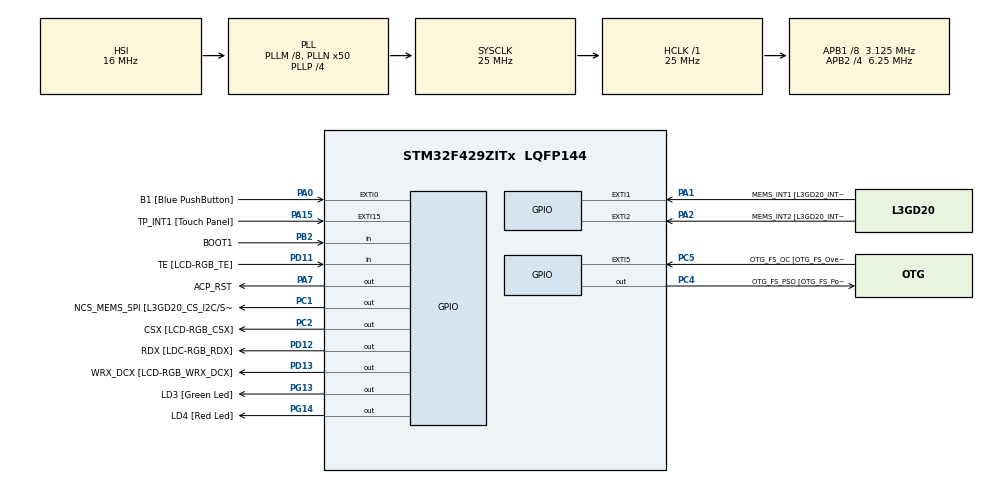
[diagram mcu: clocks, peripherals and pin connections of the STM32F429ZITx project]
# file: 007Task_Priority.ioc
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Mcu.Family=STM32F4
Mcu.Name=STM32F429ZITx
Mcu.Package=LQFP144
NVIC.EXTI0_IRQn=true\:6\:0\:true\:false\:true\:true\:true
NVIC.PriorityGroup=NVIC_PRIORITYGROUP_4
NVIC.TIM6_DAC_IRQn=true\:15\:0\:false\:false\:true\:false\:true
NVIC.TimeBase=TIM6_DAC_IRQn
NVIC.TimeBaseIP=TIM6
PA0/WKUP.GPIO_Label=B1 [Blue PushButton]
PA0/WKUP.GPIO_ModeDefaultEXTI=GPIO_MODE_IT_FALLING
PA0/WKUP.GPIO_PuPd=GPIO_NOPULL
PA0/WKUP.Signal=GPXTI0
PA1.GPIO_Label=MEMS_INT1 [L3GD20_INT1]
PA1.GPIO_ModeDefaultEXTI=GPIO_MODE_EVT_RISING
PA1.GPIO_PuPd=GPIO_NOPULL
PA1.Signal=GPXTI1
PA10.GPIO_Label=STLINK_TX [STM32F103CBT6_PA2]
PA10.Signal=USART1_RX
PA11.GPIO_Label=R4
PA11.GPIO_Mode=GPIO_MODE_AF_PP
PA11.GPIO_PuPd=GPIO_NOPULL
PA11.GPIO_Speed=GPIO_SPEED_FREQ_LOW
PA11.Signal=LTDC_R4
PA12.GPIO_Label=R5
PA12.GPIO_Mode=GPIO_MODE_AF_PP
PA12.GPIO_PuPd=GPIO_NOPULL
PA12.GPIO_Speed=GPIO_SPEED_FREQ_LOW
PA12.Signal=LTDC_R5
PA13.GPIO_Label=SWDIO
PA13.Signal=SYS_JTMS-SWDIO
PA14.GPIO_Label=SWCLK
PA14.Signal=SYS_JTCK-SWCLK
PA15.GPIO_Label=TP_INT1 [Touch Panel]
PA15.GPIO_ModeDefaultEXTI=GPIO_MODE_EVT_RISING
PA15.GPIO_PuPd=GPIO_NOPULL
PA15.Signal=GPXTI15
PA2.GPIO_Label=MEMS_INT2 [L3GD20_INT2]
PA2.GPIO_ModeDefaultEXTI=GPIO_MODE_EVT_RISING
PA2.GPIO_PuPd=GPIO_NOPULL
PA2.Signal=GPXTI2
PA3.GPIO_Label=B5
PA3.GPIO_Mode=GPIO_MODE_AF_PP
PA3.GPIO_PuPd=GPIO_NOPULL
PA3.GPIO_Speed=GPIO_SPEED_FREQ_LOW
PA3.Signal=LTDC_B5
PA4.GPIO_Label=VSYNC
PA4.GPIO_Mode=GPIO_MODE_AF_PP
PA4.GPIO_PuPd=GPIO_NOPULL
PA4.GPIO_Speed=GPIO_SPEED_FREQ_LOW
PA4.Signal=LTDC_VSYNC
PA6.GPIO_Label=G2
PA6.GPIO_Mode=GPIO_MODE_AF_PP
PA6.GPIO_PuPd=GPIO_NOPULL
PA6.GPIO_Speed=GPIO_SPEED_FREQ_LOW
PA6.Signal=LTDC_G2
PA7.GPIO_Label=ACP_RST
PA7.GPIO_Mode=GPIO_MODE_OUTPUT_PP
PA7.GPIO_PuPd=GPIO_NOPULL
PA7.GPIO_Speed=GPIO_SPEED_FREQ_LOW
PA7.Signal=GPIO_Output
PA8.GPIO_Label=I2C3_SCL [ACP/RF_SCL]
PA8.GPIO_Mode=GPIO_MODE_AF_OD
PA8.GPIO_PuPd=GPIO_NOPULL
PA8.GPIO_Speed=GPIO_SPEED_FREQ_LOW
PA8.Signal=I2C3_SCL
PA9.GPIO_Label=STLINK_RX [STM32F103CBT6_PA3]
PA9.Signal=USART1_TX
PB0.GPIO_Label=R3
PB0.GPIO_Mode=GPIO_MODE_AF_PP
PB0.GPIO_PuPd=GPIO_NOPULL
PB0.GPIO_Speed=GPIO_SPEED_FREQ_LOW
PB0.Signal=LTDC_R3
PB1.GPIO_Label=R6
PB1.GPIO_Mode=GPIO_MODE_AF_PP
PB1.GPIO_PuPd=GPIO_NOPULL
PB1.GPIO_Speed=GPIO_SPEED_FREQ_LOW
PB1.Signal=LTDC_R6
PB10.GPIO_Label=G4
PB10.GPIO_Mode=GPIO_MODE_AF_PP
PB10.GPIO_PuPd=GPIO_NOPULL
PB10.GPIO_Speed=GPIO_SPEED_FREQ_LOW
PB10.Signal=LTDC_G4
PB11.GPIO_Label=G5
PB11.GPIO_Mode=GPIO_MODE_AF_PP
PB11.GPIO_PuPd=GPIO_NOPULL
PB11.GPIO_Speed=GPIO_SPEED_FREQ_LOW
PB11.Signal=LTDC_G5
PB12.GPIO_Label=OTG_HS_ID
PB12.GPIO_Mode=GPIO_MODE_AF_PP
PB12.GPIO_PuPd=GPIO_NOPULL
PB12.GPIO_Speed=GPIO_SPEED_FREQ_LOW
PB12.Signal=USB_OTG_HS_ID
PB13.GPIO_Label=VBUS_HS
PB13.GPIO_Mode=GPIO_MODE_INPUT
PB13.GPIO_PuPd=GPIO_NOPULL
PB13.Signal=USB_OTG_HS_VBUS
PB14.GPIO_Label=OTG_HS_DM
PB14.GPIO_Mode=GPIO_MODE_AF_PP
PB14.GPIO_PuPd=GPIO_NOPULL
PB14.GPIO_Speed=GPIO_SPEED_FREQ_LOW
PB14.Signal=USB_OTG_HS_DM
PB15.GPIO_Label=OTG_HS_DP
PB15.GPIO_Mode=GPIO_MODE_AF_PP
PB15.GPIO_PuPd=GPIO_NOPULL
PB15.GPIO_Speed=GPIO_SPEED_FREQ_LOW
PB15.Signal=USB_OTG_HS_DP
PB2/BOOT1.GPIO_Label=BOOT1
PB2/BOOT1.GPIO_Mode=GPIO_MODE_INPUT
PB2/BOOT1.GPIO_PuPd=GPIO_NOPULL
PB2/BOOT1.Signal=GPIO_Input
PB5.GPIO_Label=SDCKE1
PB5.GPIO_Mode=GPIO_MODE_AF_PP
PB5.GPIO_PuPd=GPIO_NOPULL
PB5.GPIO_Speed=GPIO_SPEED_FREQ_VERY_HIGH
PB5.Signal=FMC_SDCKE1
PB6.GPIO_Label=SDNE1 [SDRAM_CS]
PB6.GPIO_Mode=GPIO_MODE_AF_PP
PB6.GPIO_PuPd=GPIO_NOPULL
PB6.GPIO_Speed=GPIO_SPEED_FREQ_VERY_HIGH
PB6.Signal=FMC_SDNE1
PB8.GPIO_Label=B6
PB8.GPIO_Mode=GPIO_MODE_AF_PP
PB8.GPIO_PuPd=GPIO_NOPULL
PB8.GPIO_Speed=GPIO_SPEED_FREQ_LOW
PB8.Signal=LTDC_B6
PB9.GPIO_Label=B7
PB9.GPIO_Mode=GPIO_MODE_AF_PP
PB9.GPIO_PuPd=GPIO_NOPULL
PB9.GPIO_Speed=GPIO_SPEED_FREQ_LOW
PB9.Signal=LTDC_B7
PC0.GPIO_Label=SDNWE
PC0.GPIO_Mode=GPIO_MODE_AF_PP
PC0.GPIO_PuPd=GPIO_NOPULL
PC0.GPIO_Speed=GPIO_SPEED_FREQ_VERY_HIGH
PC0.Signal=FMC_SDNWE
PC1.GPIO_Label=NCS_MEMS_SPI [L3GD20_CS_I2C/SPI]
PC1.GPIO_Mode=GPIO_MODE_OUTPUT_PP
PC1.GPIO_PuPd=GPIO_NOPULL
PC1.GPIO_Speed=GPIO_SPEED_FREQ_LOW
PC1.Signal=GPIO_Output
PC10.GPIO_Label=R2
PC10.GPIO_Mode=GPIO_MODE_AF_PP
PC10.GPIO_PuPd=GPIO_NOPULL
PC10.GPIO_Speed=GPIO_SPEED_FREQ_LOW
PC10.Signal=LTDC_R2
PC14/OSC32_IN.GPIO_Label=PC14-OSC32_IN
PC14/OSC32_IN.Signal=RCC_OSC32_IN
PC15/OSC32_OUT.GPIO_Label=PC15-OSC32_OUT
PC15/OSC32_OUT.Signal=RCC_OSC32_OUT
PC2.GPIO_Label=CSX [LCD-RGB_CSX]
PC2.GPIO_Mode=GPIO_MODE_OUTPUT_PP
PC2.GPIO_PuPd=GPIO_NOPULL
PC2.GPIO_Speed=GPIO_SPEED_FREQ_LOW
PC2.Signal=GPIO_Output
PC4.GPIO_Label=OTG_FS_PSO [OTG_FS_PowerSwitchOn]
PC4.GPIO_Mode=GPIO_MODE_OUTPUT_PP
PC4.GPIO_PuPd=GPIO_NOPULL
PC4.GPIO_Speed=GPIO_SPEED_FREQ_LOW
PC4.Signal=GPIO_Output
PC5.GPIO_Label=OTG_FS_OC [OTG_FS_OverCurrent]
PC5.GPIO_ModeDefaultEXTI=GPIO_MODE_EVT_RISING
PC5.Signal=GPXTI5
PC6.GPIO_Label=HSYNC
PC6.GPIO_Mode=GPIO_MODE_AF_PP
PC6.GPIO_PuPd=GPIO_NOPULL
PC6.GPIO_Speed=GPIO_SPEED_FREQ_LOW
PC6.Signal=LTDC_HSYNC
PC7.GPIO_Label=G6
PC7.GPIO_Mode=GPIO_MODE_AF_PP
PC7.GPIO_PuPd=GPIO_NOPULL
PC7.GPIO_Speed=GPIO_SPEED_FREQ_LOW
PC7.Signal=LTDC_G6
PC9.GPIO_Label=I2C3_SDA [ACP/RF_SDA]
PC9.GPIO_Mode=GPIO_MODE_AF_OD
PC9.GPIO_PuPd=GPIO_NOPULL
PC9.GPIO_Speed=GPIO_SPEED_FREQ_LOW
PC9.Signal=I2C3_SDA
PD0.GPIO_Label=D2
PD0.GPIO_Mode=GPIO_MODE_AF_PP
PD0.GPIO_PuPd=GPIO_NOPULL
PD0.GPIO_Speed=GPIO_SPEED_FREQ_VERY_HIGH
PD0.Signal=FMC_D2_DA2
PD1.GPIO_Label=D3
PD1.GPIO_Mode=GPIO_MODE_AF_PP
PD1.GPIO_PuPd=GPIO_NOPULL
PD1.GPIO_Speed=GPIO_SPEED_FREQ_VERY_HIGH
PD1.Signal=FMC_D3_DA3
PD10.GPIO_Label=D15
PD10.GPIO_Mode=GPIO_MODE_AF_PP
PD10.GPIO_PuPd=GPIO_NOPULL
PD10.GPIO_Speed=GPIO_SPEED_FREQ_VERY_HIGH
PD10.Signal=FMC_D15_DA15
PD11.GPIO_Label=TE [LCD-RGB_TE]
PD11.GPIO_Mode=GPIO_MODE_INPUT
PD11.GPIO_PuPd=GPIO_NOPULL
PD11.Signal=GPIO_Input
PD12.GPIO_Label=RDX [LDC-RGB_RDX]
PD12.GPIO_Mode=GPIO_MODE_OUTPUT_PP
PD12.GPIO_PuPd=GPIO_NOPULL
PD12.GPIO_Speed=GPIO_SPEED_FREQ_LOW
PD12.Signal=GPIO_Output
PD13.GPIO_Label=WRX_DCX [LCD-RGB_WRX_DCX]
PD13.GPIO_Mode=GPIO_MODE_OUTPUT_PP
PD13.GPIO_PuPd=GPIO_NOPULL
PD13.GPIO_Speed=GPIO_SPEED_FREQ_LOW
PD13.Signal=GPIO_Output
PD14.GPIO_Label=D0
PD14.GPIO_Mode=GPIO_MODE_AF_PP
PD14.GPIO_PuPd=GPIO_NOPULL
PD14.GPIO_Speed=GPIO_SPEED_FREQ_VERY_HIGH
PD14.Signal=FMC_D0_DA0
PD15.GPIO_Label=D1
PD15.GPIO_Mode=GPIO_MODE_AF_PP
PD15.GPIO_PuPd=GPIO_NOPULL
PD15.GPIO_Speed=GPIO_SPEED_FREQ_VERY_HIGH
PD15.Signal=FMC_D1_DA1
PD3.GPIO_Label=G7
PD3.GPIO_Mode=GPIO_MODE_AF_PP
PD3.GPIO_PuPd=GPIO_NOPULL
PD3.GPIO_Speed=GPIO_SPEED_FREQ_LOW
PD3.Signal=LTDC_G7
PD6.GPIO_Label=B2
PD6.GPIO_Mode=GPIO_MODE_AF_PP
PD6.GPIO_PuPd=GPIO_NOPULL
PD6.GPIO_Speed=GPIO_SPEED_FREQ_LOW
PD6.Signal=LTDC_B2
PD8.GPIO_Label=D13
PD8.GPIO_Mode=GPIO_MODE_AF_PP
PD8.GPIO_PuPd=GPIO_NOPULL
PD8.GPIO_Speed=GPIO_SPEED_FREQ_VERY_HIGH
PD8.Signal=FMC_D13_DA13
PD9.GPIO_Label=D14
PD9.GPIO_Mode=GPIO_MODE_AF_PP
PD9.GPIO_PuPd=GPIO_NOPULL
PD9.GPIO_Speed=GPIO_SPEED_FREQ_VERY_HIGH
PD9.Signal=FMC_D14_DA14
PE0.GPIO_Label=NBL0 [SDRAM_LDQM]
PE0.GPIO_Mode=GPIO_MODE_AF_PP
PE0.GPIO_PuPd=GPIO_NOPULL
PE0.GPIO_Speed=GPIO_SPEED_FREQ_VERY_HIGH
PE0.Signal=FMC_NBL0
PE1.GPIO_Label=NBL1 [SDRAM_UDQM]
PE1.GPIO_Mode=GPIO_MODE_AF_PP
PE1.GPIO_PuPd=GPIO_NOPULL
PE1.GPIO_Speed=GPIO_SPEED_FREQ_VERY_HIGH
PE1.Signal=FMC_NBL1
PE10.GPIO_Label=D7
PE10.GPIO_Mode=GPIO_MODE_AF_PP
PE10.GPIO_PuPd=GPIO_NOPULL
PE10.GPIO_Speed=GPIO_SPEED_FREQ_VERY_HIGH
PE10.Signal=FMC_D7_DA7
PE11.GPIO_Label=D8
PE11.GPIO_Mode=GPIO_MODE_AF_PP
PE11.GPIO_PuPd=GPIO_NOPULL
PE11.GPIO_Speed=GPIO_SPEED_FREQ_VERY_HIGH
PE11.Signal=FMC_D8_DA8
PE12.GPIO_Label=D9
PE12.GPIO_Mode=GPIO_MODE_AF_PP
PE12.GPIO_PuPd=GPIO_NOPULL
PE12.GPIO_Speed=GPIO_SPEED_FREQ_VERY_HIGH
PE12.Signal=FMC_D9_DA9
PE13.GPIO_Label=D10
PE13.GPIO_Mode=GPIO_MODE_AF_PP
PE13.GPIO_PuPd=GPIO_NOPULL
PE13.GPIO_Speed=GPIO_SPEED_FREQ_VERY_HIGH
PE13.Signal=FMC_D10_DA10
PE14.GPIO_Label=D11
PE14.GPIO_Mode=GPIO_MODE_AF_PP
PE14.GPIO_PuPd=GPIO_NOPULL
PE14.GPIO_Speed=GPIO_SPEED_FREQ_VERY_HIGH
PE14.Signal=FMC_D11_DA11
PE15.GPIO_Label=D12
PE15.GPIO_Mode=GPIO_MODE_AF_PP
PE15.GPIO_PuPd=GPIO_NOPULL
PE15.GPIO_Speed=GPIO_SPEED_FREQ_VERY_HIGH
PE15.Signal=FMC_D12_DA12
PE7.GPIO_Label=D4
PE7.GPIO_Mode=GPIO_MODE_AF_PP
PE7.GPIO_PuPd=GPIO_NOPULL
PE7.GPIO_Speed=GPIO_SPEED_FREQ_VERY_HIGH
PE7.Signal=FMC_D4_DA4
PE8.GPIO_Label=D5
PE8.GPIO_Mode=GPIO_MODE_AF_PP
PE8.GPIO_PuPd=GPIO_NOPULL
PE8.GPIO_Speed=GPIO_SPEED_FREQ_VERY_HIGH
PE8.Signal=FMC_D5_DA5
PE9.GPIO_Label=D6
PE9.GPIO_Mode=GPIO_MODE_AF_PP
PE9.GPIO_PuPd=GPIO_NOPULL
PE9.GPIO_Speed=GPIO_SPEED_FREQ_VERY_HIGH
PE9.Signal=FMC_D6_DA6
PF0.GPIO_Label=A0
PF0.GPIO_Mode=GPIO_MODE_AF_PP
PF0.GPIO_PuPd=GPIO_NOPULL
PF0.GPIO_Speed=GPIO_SPEED_FREQ_VERY_HIGH
PF0.Signal=FMC_A0
PF1.GPIO_Label=A1
PF1.GPIO_Mode=GPIO_MODE_AF_PP
PF1.GPIO_PuPd=GPIO_NOPULL
PF1.GPIO_Speed=GPIO_SPEED_FREQ_VERY_HIGH
PF1.Signal=FMC_A1
PF10.GPIO_Label=ENABLE [LCD-RGB_ENABLE]
PF10.GPIO_Mode=GPIO_MODE_AF_PP
PF10.GPIO_PuPd=GPIO_NOPULL
PF10.GPIO_Speed=GPIO_SPEED_FREQ_LOW
PF10.Signal=LTDC_DE
PF11.GPIO_Label=SDNRAS
PF11.GPIO_Mode=GPIO_MODE_AF_PP
PF11.GPIO_PuPd=GPIO_NOPULL
PF11.GPIO_Speed=GPIO_SPEED_FREQ_VERY_HIGH
PF11.Signal=FMC_SDNRAS
PF12.GPIO_Label=A6
PF12.GPIO_Mode=GPIO_MODE_AF_PP
PF12.GPIO_PuPd=GPIO_NOPULL
PF12.GPIO_Speed=GPIO_SPEED_FREQ_VERY_HIGH
PF12.Signal=FMC_A6
PF13.GPIO_Label=A7
PF13.GPIO_Mode=GPIO_MODE_AF_PP
PF13.GPIO_PuPd=GPIO_NOPULL
PF13.GPIO_Speed=GPIO_SPEED_FREQ_VERY_HIGH
PF13.Signal=FMC_A7
PF14.GPIO_Label=A8
PF14.GPIO_Mode=GPIO_MODE_AF_PP
PF14.GPIO_PuPd=GPIO_NOPULL
PF14.GPIO_Speed=GPIO_SPEED_FREQ_VERY_HIGH
PF14.Signal=FMC_A8
PF15.GPIO_Label=A9
PF15.GPIO_Mode=GPIO_MODE_AF_PP
PF15.GPIO_PuPd=GPIO_NOPULL
PF15.GPIO_Speed=GPIO_SPEED_FREQ_VERY_HIGH
PF15.Signal=FMC_A9
PF2.GPIO_Label=A2
PF2.GPIO_Mode=GPIO_MODE_AF_PP
PF2.GPIO_PuPd=GPIO_NOPULL
PF2.GPIO_Speed=GPIO_SPEED_FREQ_VERY_HIGH
PF2.Signal=FMC_A2
PF3.GPIO_Label=A3
PF3.GPIO_Mode=GPIO_MODE_AF_PP
PF3.GPIO_PuPd=GPIO_NOPULL
PF3.GPIO_Speed=GPIO_SPEED_FREQ_VERY_HIGH
PF3.Signal=FMC_A3
PF4.GPIO_Label=A4
PF4.GPIO_Mode=GPIO_MODE_AF_PP
PF4.GPIO_PuPd=GPIO_NOPULL
PF4.GPIO_Speed=GPIO_SPEED_FREQ_VERY_HIGH
PF4.Signal=FMC_A4
PF5.GPIO_Label=A5
PF5.GPIO_Mode=GPIO_MODE_AF_PP
PF5.GPIO_PuPd=GPIO_NOPULL
PF5.GPIO_Speed=GPIO_SPEED_FREQ_VERY_HIGH
PF5.Signal=FMC_A5
PF7.GPIO_Label=SPI5_SCK [L3GD20_SCL/SPC]
PF7.GPIO_Mode=GPIO_MODE_AF_PP
PF7.GPIO_PuPd=GPIO_NOPULL
PF7.GPIO_Speed=GPIO_SPEED_FREQ_LOW
PF7.Signal=SPI5_SCK
PF8.GPIO_Label=SPI5_MISO [L3GD20_SDO]
PF8.GPIO_Mode=GPIO_MODE_AF_PP
PF8.GPIO_PuPd=GPIO_NOPULL
PF8.GPIO_Speed=GPIO_SPEED_FREQ_LOW
PF8.Signal=SPI5_MISO
PF9.GPIO_Label=SPI5_MOSI [L3GD20_SDA/SDI/SDO]
PF9.GPIO_Mode=GPIO_MODE_AF_PP
PF9.GPIO_PuPd=GPIO_NOPULL
PF9.GPIO_Speed=GPIO_SPEED_FREQ_LOW
PF9.Signal=SPI5_MOSI
PG0.GPIO_Label=A10
PG0.GPIO_Mode=GPIO_MODE_AF_PP
PG0.GPIO_PuPd=GPIO_NOPULL
PG0.GPIO_Speed=GPIO_SPEED_FREQ_VERY_HIGH
PG0.Signal=FMC_A10
PG1.GPIO_Label=A11
PG1.GPIO_Mode=GPIO_MODE_AF_PP
PG1.GPIO_PuPd=GPIO_NOPULL
PG1.GPIO_Speed=GPIO_SPEED_FREQ_VERY_HIGH
PG1.Signal=FMC_A11
PG10.GPIO_Label=G3
PG10.GPIO_Mode=GPIO_MODE_AF_PP
PG10.GPIO_PuPd=GPIO_NOPULL
PG10.GPIO_Speed=GPIO_SPEED_FREQ_LOW
PG10.Signal=LTDC_G3
PG11.GPIO_Label=B3
PG11.GPIO_Mode=GPIO_MODE_AF_PP
PG11.GPIO_PuPd=GPIO_NOPULL
PG11.GPIO_Speed=GPIO_SPEED_FREQ_LOW
PG11.Signal=LTDC_B3
PG12.GPIO_Label=B4
PG12.GPIO_Mode=GPIO_MODE_AF_PP
PG12.GPIO_PuPd=GPIO_NOPULL
PG12.GPIO_Speed=GPIO_SPEED_FREQ_LOW
PG12.Signal=LTDC_B4
PG13.GPIO_Label=LD3 [Green Led]
PG13.GPIO_Mode=GPIO_MODE_OUTPUT_PP
PG13.GPIO_PuPd=GPIO_NOPULL
PG13.GPIO_Speed=GPIO_SPEED_FREQ_LOW
PG13.Signal=GPIO_Output
PG14.GPIO_Label=LD4 [Red Led]
PG14.GPIO_Mode=GPIO_MODE_OUTPUT_PP
PG14.GPIO_PuPd=GPIO_NOPULL
PG14.GPIO_Speed=GPIO_SPEED_FREQ_LOW
PG14.Signal=GPIO_Output
PG15.GPIO_Label=SDNCAS
PG15.GPIO_Mode=GPIO_MODE_AF_PP
PG15.GPIO_PuPd=GPIO_NOPULL
PG15.GPIO_Speed=GPIO_SPEED_FREQ_VERY_HIGH
PG15.Signal=FMC_SDNCAS
PG4.GPIO_Label=BA0
PG4.GPIO_Mode=GPIO_MODE_AF_PP
PG4.GPIO_PuPd=GPIO_NOPULL
PG4.GPIO_Speed=GPIO_SPEED_FREQ_VERY_HIGH
PG4.Signal=FMC_A14_BA0
PG5.GPIO_Label=BA1
PG5.GPIO_Mode=GPIO_MODE_AF_PP
PG5.GPIO_PuPd=GPIO_NOPULL
PG5.GPIO_Speed=GPIO_SPEED_FREQ_VERY_HIGH
PG5.Signal=FMC_A15_BA1
PG6.GPIO_Label=R7
PG6.GPIO_Mode=GPIO_MODE_AF_PP
PG6.GPIO_PuPd=GPIO_NOPULL
PG6.GPIO_Speed=GPIO_SPEED_FREQ_LOW
PG6.Signal=LTDC_R7
PG7.GPIO_Label=DOTCLK [LCT-RGB_DOTCLK]
PG7.GPIO_Mode=GPIO_MODE_AF_PP
PG7.GPIO_PuPd=GPIO_NOPULL
PG7.GPIO_Speed=GPIO_SPEED_FREQ_LOW
PG7.Signal=LTDC_CLK
PG8.GPIO_Label=SDCLK
PG8.GPIO_Mode=GPIO_MODE_AF_PP
PG8.GPIO_PuPd=GPIO_NOPULL
PG8.GPIO_Speed=GPIO_SPEED_FREQ_VERY_HIGH
PG8.Signal=FMC_SDCLK
PH0/OSC_IN.GPIO_Label=PH0-OSC_IN
PH0/OSC_IN.Signal=RCC_OSC_IN
PH1/OSC_OUT.GPIO_Label=PH1-OSC_OUT
PH1/OSC_OUT.Signal=RCC_OSC_OUT
ProjectManager.HeapSize=0x200
ProjectManager.StackSize=0x400
ProjectManager.TargetToolchain=STM32CubeIDE
RCC.48MHZClocksFreq_Value=14285714.285714285
RCC.AHBFreq_Value=25000000
RCC.APB1CLKDivider=RCC_HCLK_DIV8
RCC.APB1Freq_Value=3125000
RCC.APB1TimFreq_Value=6250000
RCC.APB2CLKDivider=RCC_HCLK_DIV4
RCC.APB2Freq_Value=6250000
RCC.APB2TimFreq_Value=12500000
RCC.CortexFreq_Value=25000000
RCC.HCLKFreq_Value=25000000
RCC.HSE_VALUE=8000000
RCC.HSI_VALUE=16000000
RCC.LSE_VALUE=32768
RCC.PLLM=8
RCC.PLLN=50
RCC.PLLP=RCC_PLLP_DIV4
RCC.PLLQ=7
RCC.SYSCLKFreq_VALUE=25000000
RCC.SYSCLKSource=RCC_SYSCLKSOURCE_PLLCLK
RCC.VCOOutputFreq_Value=100000000
SH.FMC_A0.0=FMC_A0
SH.FMC_A1.0=FMC_A1
SH.FMC_A10.0=FMC_A10
SH.FMC_A11.0=FMC_A11
SH.FMC_A14_BA0.0=FMC_BA0
SH.FMC_A15_BA1.0=FMC_BA1
SH.FMC_A2.0=FMC_A2
SH.FMC_A3.0=FMC_A3
SH.FMC_A4.0=FMC_A4
SH.FMC_A5.0=FMC_A5
SH.FMC_A6.0=FMC_A6
SH.FMC_A7.0=FMC_A7
SH.FMC_A8.0=FMC_A8
SH.FMC_A9.0=FMC_A9
SH.FMC_D0_DA0.0=FMC_D0
SH.FMC_D10_DA10.0=FMC_D10
SH.FMC_D11_DA11.0=FMC_D11
SH.FMC_D12_DA12.0=FMC_D12
SH.FMC_D13_DA13.0=FMC_D13
SH.FMC_D14_DA14.0=FMC_D14
SH.FMC_D15_DA15.0=FMC_D15
SH.FMC_D1_DA1.0=FMC_D1
SH.FMC_D2_DA2.0=FMC_D2
SH.FMC_D3_DA3.0=FMC_D3
SH.FMC_D4_DA4.0=FMC_D4
SH.FMC_D5_DA5.0=FMC_D5
SH.FMC_D6_DA6.0=FMC_D6
SH.FMC_D7_DA7.0=FMC_D7
SH.FMC_D8_DA8.0=FMC_D8
SH.FMC_D9_DA9.0=FMC_D9
SH.FMC_NBL0.0=FMC_NBL0
SH.FMC_NBL1.0=FMC_NBL1
SH.FMC_SDCLK.0=FMC_SDCLK
SH.FMC_SDNCAS.0=FMC_SDNCAS
SH.FMC_SDNRAS.0=FMC_SDNRAS
SH.FMC_SDNWE.0=FMC_SDNWE
VP_SYS_VS_tim6.Mode=TIM6
board=STM32F429I-DISC1

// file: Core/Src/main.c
/* USER CODE BEGIN Header */
/**
  ******************************************************************************
  * @file           : main.c
  * @brief          : Main program body
  ******************************************************************************
  * @attention
  *
  * <h2><center>&copy; Copyright (c) 2021 STMicroelectronics.
  * All rights reserved.</center></h2>
  *
  * This software component is licensed by ST under BSD 3-Clause license,
  * the "License"; You may not use this file except in compliance with the
  * License. You may obtain a copy of the License at:
  *                        opensource.org/licenses/BSD-3-Clause
  *
  ******************************************************************************
  */
/* USER CODE END Header */
#include "main.h"

/* USER CODE BEGIN Includes */

#include "FreeRTOS.h"
#include "task.h"

/* USER CODE END Includes */

/* USER CODE BEGIN PV */

#define DWT_CTRL    (*(volatile uint32_t*)0xE0001000)

volatile BaseType_t status_button = 0;

/* USER CODE END PV */

void SystemClock_Config(void);
static void MX_GPIO_Init(void);
/* USER CODE BEGIN PFP */

static void task1_handler(void* parameters);
static void task2_handler(void* parameters);

static void switch_priority(void);

/* USER CODE END PFP */

int main(void)
{
  /* USER CODE BEGIN 1 */

	BaseType_t status;

	TaskHandle_t task1_handle;
	TaskHandle_t task2_handle;

  /* USER CODE END 1 */

  /* MCU Configuration--------------------------------------------------------*/

  /* Reset of all peripherals, Initializes the Flash interface and the Systick. */
  HAL_Init();

  /* Configure the system clock */
  SystemClock_Config();

  /* Initialize all configured peripherals */
  MX_GPIO_Init();
  /* USER CODE BEGIN 2 */

  //CYCLCNT enable
    DWT_CTRL |= ( 1 << 0);

    SEGGER_SYSVIEW_Conf();

    SEGGER_SYSVIEW_Start();

    status = xTaskCreate(task1_handler, "Task-1", 200, NULL, 2, &task1_handle);

    configASSERT(status == pdPASS);

    status = xTaskCreate(task2_handler, "Task-2", 200,NULL, 3, &task2_handle);

    configASSERT(status == pdPASS);

    //start the freeRTOS scheduler
    vTaskStartScheduler();

  /* USER CODE END 2 */

  /* Infinite loop */
  while (1)
  {

  }
}

void SystemClock_Config(void)
{
  RCC_OscInitTypeDef RCC_OscInitStruct = {0};
  RCC_ClkInitTypeDef RCC_ClkInitStruct = {0};

  /** Configure the main internal regulator output voltage
  */
  __HAL_RCC_PWR_CLK_ENABLE();
  __HAL_PWR_VOLTAGESCALING_CONFIG(PWR_REGULATOR_VOLTAGE_SCALE3);
  /** Initializes the RCC Oscillators according to the specified parameters
  * in the RCC_OscInitTypeDef structure.
  */
  RCC_OscInitStruct.OscillatorType = RCC_OSCILLATORTYPE_HSI;
  RCC_OscInitStruct.HSIState = RCC_HSI_ON;
  RCC_OscInitStruct.HSICalibrationValue = RCC_HSICALIBRATION_DEFAULT;
  RCC_OscInitStruct.PLL.PLLState = RCC_PLL_ON;
  RCC_OscInitStruct.PLL.PLLSource = RCC_PLLSOURCE_HSI;
  RCC_OscInitStruct.PLL.PLLM = 8;
  RCC_OscInitStruct.PLL.PLLN = 50;
  RCC_OscInitStruct.PLL.PLLP = RCC_PLLP_DIV4;
  RCC_OscInitStruct.PLL.PLLQ = 7;
  if (HAL_RCC_OscConfig(&RCC_OscInitStruct) != HAL_OK)
  {
    Error_Handler();
  }
  /** Initializes the CPU, AHB and APB buses clocks
  */
  RCC_ClkInitStruct.ClockType = RCC_CLOCKTYPE_HCLK|RCC_CLOCKTYPE_SYSCLK
                              |RCC_CLOCKTYPE_PCLK1|RCC_CLOCKTYPE_PCLK2;
  RCC_ClkInitStruct.SYSCLKSource = RCC_SYSCLKSOURCE_PLLCLK;
  RCC_ClkInitStruct.AHBCLKDivider = RCC_SYSCLK_DIV1;
  RCC_ClkInitStruct.APB1CLKDivider = RCC_HCLK_DIV8;
  RCC_ClkInitStruct.APB2CLKDivider = RCC_HCLK_DIV4;

  if (HAL_RCC_ClockConfig(&RCC_ClkInitStruct, FLASH_LATENCY_0) != HAL_OK)
  {
    Error_Handler();
  }
}

static void MX_GPIO_Init(void)
{
  GPIO_InitTypeDef GPIO_InitStruct = {0};

  /* GPIO Ports Clock Enable */
  __HAL_RCC_GPIOC_CLK_ENABLE();
  __HAL_RCC_GPIOF_CLK_ENABLE();
  __HAL_RCC_GPIOH_CLK_ENABLE();
  __HAL_RCC_GPIOA_CLK_ENABLE();
  __HAL_RCC_GPIOB_CLK_ENABLE();
  __HAL_RCC_GPIOG_CLK_ENABLE();
  __HAL_RCC_GPIOE_CLK_ENABLE();
  __HAL_RCC_GPIOD_CLK_ENABLE();

  /*Configure GPIO pin Output Level */
  HAL_GPIO_WritePin(GPIOC, NCS_MEMS_SPI_Pin|CSX_Pin|OTG_FS_PSO_Pin, GPIO_PIN_RESET);

  /*Configure GPIO pin Output Level */
  HAL_GPIO_WritePin(ACP_RST_GPIO_Port, ACP_RST_Pin, GPIO_PIN_RESET);

  /*Configure GPIO pin Output Level */
  HAL_GPIO_WritePin(GPIOD, RDX_Pin|WRX_DCX_Pin, GPIO_PIN_RESET);

  /*Configure GPIO pin Output Level */
  HAL_GPIO_WritePin(GPIOG, LD3_Pin|LD4_Pin, GPIO_PIN_RESET);

  /*Configure GPIO pins : A0_Pin A1_Pin A2_Pin A3_Pin
                           A4_Pin A5_Pin SDNRAS_Pin A6_Pin
                           A7_Pin A8_Pin A9_Pin */
  GPIO_InitStruct.Pin = A0_Pin|A1_Pin|A2_Pin|A3_Pin
                          |A4_Pin|A5_Pin|SDNRAS_Pin|A6_Pin
                          |A7_Pin|A8_Pin|A9_Pin;
  GPIO_InitStruct.Mode = GPIO_MODE_AF_PP;
  GPIO_InitStruct.Pull = GPIO_NOPULL;
  GPIO_InitStruct.Speed = GPIO_SPEED_FREQ_VERY_HIGH;
  GPIO_InitStruct.Alternate = GPIO_AF12_FMC;
  HAL_GPIO_Init(GPIOF, &GPIO_InitStruct);

  /*Configure GPIO pins : SPI5_SCK_Pin SPI5_MISO_Pin SPI5_MOSI_Pin */
  GPIO_InitStruct.Pin = SPI5_SCK_Pin|SPI5_MISO_Pin|SPI5_MOSI_Pin;
  GPIO_InitStruct.Mode = GPIO_MODE_AF_PP;
  GPIO_InitStruct.Pull = GPIO_NOPULL;
  GPIO_InitStruct.Speed = GPIO_SPEED_FREQ_LOW;
  GPIO_InitStruct.Alternate = GPIO_AF5_SPI5;
  HAL_GPIO_Init(GPIOF, &GPIO_InitStruct);

  /*Configure GPIO pin : ENABLE_Pin */
  GPIO_InitStruct.Pin = ENABLE_Pin;
  GPIO_InitStruct.Mode = GPIO_MODE_AF_PP;
  GPIO_InitStruct.Pull = GPIO_NOPULL;
  GPIO_InitStruct.Speed = GPIO_SPEED_FREQ_LOW;
  GPIO_InitStruct.Alternate = GPIO_AF14_LTDC;
  HAL_GPIO_Init(ENABLE_GPIO_Port, &GPIO_InitStruct);

  /*Configure GPIO pin : SDNWE_Pin */
  GPIO_InitStruct.Pin = SDNWE_Pin;
  GPIO_InitStruct.Mode = GPIO_MODE_AF_PP;
  GPIO_InitStruct.Pull = GPIO_NOPULL;
  GPIO_InitStruct.Speed = GPIO_SPEED_FREQ_VERY_HIGH;
  GPIO_InitStruct.Alternate = GPIO_AF12_FMC;
  HAL_GPIO_Init(SDNWE_GPIO_Port, &GPIO_InitStruct);

  /*Configure GPIO pins : NCS_MEMS_SPI_Pin CSX_Pin OTG_FS_PSO_Pin */
  GPIO_InitStruct.Pin = NCS_MEMS_SPI_Pin|CSX_Pin|OTG_FS_PSO_Pin;
  GPIO_InitStruct.Mode = GPIO_MODE_OUTPUT_PP;
  GPIO_InitStruct.Pull = GPIO_NOPULL;
  GPIO_InitStruct.Speed = GPIO_SPEED_FREQ_LOW;
  HAL_GPIO_Init(GPIOC, &GPIO_InitStruct);

  /*Configure GPIO pin : B1_Pin */
  GPIO_InitStruct.Pin = B1_Pin;
  GPIO_InitStruct.Mode = GPIO_MODE_IT_FALLING;
  GPIO_InitStruct.Pull = GPIO_NOPULL;
  HAL_GPIO_Init(B1_GPIO_Port, &GPIO_InitStruct);

  /*Configure GPIO pins : MEMS_INT1_Pin MEMS_INT2_Pin TP_INT1_Pin */
  GPIO_InitStruct.Pin = MEMS_INT1_Pin|MEMS_INT2_Pin|TP_INT1_Pin;
  GPIO_InitStruct.Mode = GPIO_MODE_EVT_RISING;
  GPIO_InitStruct.Pull = GPIO_NOPULL;
  HAL_GPIO_Init(GPIOA, &GPIO_InitStruct);

  /*Configure GPIO pins : B5_Pin VSYNC_Pin G2_Pin R4_Pin
                           R5_Pin */
  GPIO_InitStruct.Pin = B5_Pin|VSYNC_Pin|G2_Pin|R4_Pin
                          |R5_Pin;
  GPIO_InitStruct.Mode = GPIO_MODE_AF_PP;
  GPIO_InitStruct.Pull = GPIO_NOPULL;
  GPIO_InitStruct.Speed = GPIO_SPEED_FREQ_LOW;
  GPIO_InitStruct.Alternate = GPIO_AF14_LTDC;
  HAL_GPIO_Init(GPIOA, &GPIO_InitStruct);

  /*Configure GPIO pin : ACP_RST_Pin */
  GPIO_InitStruct.Pin = ACP_RST_Pin;
  GPIO_InitStruct.Mode = GPIO_MODE_OUTPUT_PP;
  GPIO_InitStruct.Pull = GPIO_NOPULL;
  GPIO_InitStruct.Speed = GPIO_SPEED_FREQ_LOW;
  HAL_GPIO_Init(ACP_RST_GPIO_Port, &GPIO_InitStruct);

  /*Configure GPIO pin : OTG_FS_OC_Pin */
  GPIO_InitStruct.Pin = OTG_FS_OC_Pin;
  GPIO_InitStruct.Mode = GPIO_MODE_EVT_RISING;
  GPIO_InitStruct.Pull = GPIO_NOPULL;
  HAL_GPIO_Init(OTG_FS_OC_GPIO_Port, &GPIO_InitStruct);

  /*Configure GPIO pins : R3_Pin R6_Pin */
  GPIO_InitStruct.Pin = R3_Pin|R6_Pin;
  GPIO_InitStruct.Mode = GPIO_MODE_AF_PP;
  GPIO_InitStruct.Pull = GPIO_NOPULL;
  GPIO_InitStruct.Speed = GPIO_SPEED_FREQ_LOW;
  GPIO_InitStruct.Alternate = GPIO_AF9_LTDC;
  HAL_GPIO_Init(GPIOB, &GPIO_InitStruct);

  /*Configure GPIO pin : BOOT1_Pin */
  GPIO_InitStruct.Pin = BOOT1_Pin;
  GPIO_InitStruct.Mode = GPIO_MODE_INPUT;
  GPIO_InitStruct.Pull = GPIO_NOPULL;
  HAL_GPIO_Init(BOOT1_GPIO_Port, &GPIO_InitStruct);

  /*Configure GPIO pins : A10_Pin A11_Pin BA0_Pin BA1_Pin
                           SDCLK_Pin SDNCAS_Pin */
  GPIO_InitStruct.Pin = A10_Pin|A11_Pin|BA0_Pin|BA1_Pin
                          |SDCLK_Pin|SDNCAS_Pin;
  GPIO_InitStruct.Mode = GPIO_MODE_AF_PP;
  GPIO_InitStruct.Pull = GPIO_NOPULL;
  GPIO_InitStruct.Speed = GPIO_SPEED_FREQ_VERY_HIGH;
  GPIO_InitStruct.Alternate = GPIO_AF12_FMC;
  HAL_GPIO_Init(GPIOG, &GPIO_InitStruct);

  /*Configure GPIO pins : D4_Pin D5_Pin D6_Pin D7_Pin
                           D8_Pin D9_Pin D10_Pin D11_Pin
                           D12_Pin NBL0_Pin NBL1_Pin */
  GPIO_InitStruct.Pin = D4_Pin|D5_Pin|D6_Pin|D7_Pin
                          |D8_Pin|D9_Pin|D10_Pin|D11_Pin
                          |D12_Pin|NBL0_Pin|NBL1_Pin;
  GPIO_InitStruct.Mode = GPIO_MODE_AF_PP;
  GPIO_InitStruct.Pull = GPIO_NOPULL;
  GPIO_InitStruct.Speed = GPIO_SPEED_FREQ_VERY_HIGH;
  GPIO_InitStruct.Alternate = GPIO_AF12_FMC;
  HAL_GPIO_Init(GPIOE, &GPIO_InitStruct);

  /*Configure GPIO pins : G4_Pin G5_Pin B6_Pin B7_Pin */
  GPIO_InitStruct.Pin = G4_Pin|G5_Pin|B6_Pin|B7_Pin;
  GPIO_InitStruct.Mode = GPIO_MODE_AF_PP;
  GPIO_InitStruct.Pull = GPIO_NOPULL;
  GPIO_InitStruct.Speed = GPIO_SPEED_FREQ_LOW;
  GPIO_InitStruct.Alternate = GPIO_AF14_LTDC;
  HAL_GPIO_Init(GPIOB, &GPIO_InitStruct);

  /*Configure GPIO pins : OTG_HS_ID_Pin OTG_HS_DM_Pin OTG_HS_DP_Pin */
  GPIO_InitStruct.Pin = OTG_HS_ID_Pin|OTG_HS_DM_Pin|OTG_HS_DP_Pin;
  GPIO_InitStruct.Mode = GPIO_MODE_AF_PP;
  GPIO_InitStruct.Pull = GPIO_NOPULL;
  GPIO_InitStruct.Speed = GPIO_SPEED_FREQ_LOW;
  GPIO_InitStruct.Alternate = GPIO_AF12_OTG_HS_FS;
  HAL_GPIO_Init(GPIOB, &GPIO_InitStruct);

  /*Configure GPIO pin : VBUS_HS_Pin */
  GPIO_InitStruct.Pin = VBUS_HS_Pin;
  GPIO_InitStruct.Mode = GPIO_MODE_INPUT;
  GPIO_InitStruct.Pull = GPIO_NOPULL;
  HAL_GPIO_Init(VBUS_HS_GPIO_Port, &GPIO_InitStruct);

  /*Configure GPIO pins : D13_Pin D14_Pin D15_Pin D0_Pin
                           D1_Pin D2_Pin D3_Pin */
  GPIO_InitStruct.Pin = D13_Pin|D14_Pin|D15_Pin|D0_Pin
                          |D1_Pin|D2_Pin|D3_Pin;
  GPIO_InitStruct.Mode = GPIO_MODE_AF_PP;
  GPIO_InitStruct.Pull = GPIO_NOPULL;
  GPIO_InitStruct.Speed = GPIO_SPEED_FREQ_VERY_HIGH;
  GPIO_InitStruct.Alternate = GPIO_AF12_FMC;
  HAL_GPIO_Init(GPIOD, &GPIO_InitStruct);

  /*Configure GPIO pin : TE_Pin */
  GPIO_InitStruct.Pin = TE_Pin;
  GPIO_InitStruct.Mode = GPIO_MODE_INPUT;
  GPIO_InitStruct.Pull = GPIO_NOPULL;
  HAL_GPIO_Init(TE_GPIO_Port, &GPIO_InitStruct);

  /*Configure GPIO pins : RDX_Pin WRX_DCX_Pin */
  GPIO_InitStruct.Pin = RDX_Pin|WRX_DCX_Pin;
  GPIO_InitStruct.Mode = GPIO_MODE_OUTPUT_PP;
  GPIO_InitStruct.Pull = GPIO_NOPULL;
  GPIO_InitStruct.Speed = GPIO_SPEED_FREQ_LOW;
  HAL_GPIO_Init(GPIOD, &GPIO_InitStruct);

  /*Configure GPIO pins : R7_Pin DOTCLK_Pin B3_Pin */
  GPIO_InitStruct.Pin = R7_Pin|DOTCLK_Pin|B3_Pin;
  GPIO_InitStruct.Mode = GPIO_MODE_AF_PP;
  GPIO_InitStruct.Pull = GPIO_NOPULL;
  GPIO_InitStruct.Speed = GPIO_SPEED_FREQ_LOW;
  GPIO_InitStruct.Alternate = GPIO_AF14_LTDC;
  HAL_GPIO_Init(GPIOG, &GPIO_InitStruct);

  /*Configure GPIO pins : HSYNC_Pin G6_Pin R2_Pin */
  GPIO_InitStruct.Pin = HSYNC_Pin|G6_Pin|R2_Pin;
  GPIO_InitStruct.Mode = GPIO_MODE_AF_PP;
  GPIO_InitStruct.Pull = GPIO_NOPULL;
  GPIO_InitStruct.Speed = GPIO_SPEED_FREQ_LOW;
  GPIO_InitStruct.Alternate = GPIO_AF14_LTDC;
  HAL_GPIO_Init(GPIOC, &GPIO_InitStruct);

  /*Configure GPIO pin : I2C3_SDA_Pin */
  GPIO_InitStruct.Pin = I2C3_SDA_Pin;
  GPIO_InitStruct.Mode = GPIO_MODE_AF_OD;
  GPIO_InitStruct.Pull = GPIO_NOPULL;
  GPIO_InitStruct.Speed = GPIO_SPEED_FREQ_LOW;
  GPIO_InitStruct.Alternate = GPIO_AF4_I2C3;
  HAL_GPIO_Init(I2C3_SDA_GPIO_Port, &GPIO_InitStruct);

  /*Configure GPIO pin : I2C3_SCL_Pin */
  GPIO_InitStruct.Pin = I2C3_SCL_Pin;
  GPIO_InitStruct.Mode = GPIO_MODE_AF_OD;
  GPIO_InitStruct.Pull = GPIO_NOPULL;
  GPIO_InitStruct.Speed = GPIO_SPEED_FREQ_LOW;
  GPIO_InitStruct.Alternate = GPIO_AF4_I2C3;
  HAL_GPIO_Init(I2C3_SCL_GPIO_Port, &GPIO_InitStruct);

  /*Configure GPIO pins : STLINK_RX_Pin STLINK_TX_Pin */
  GPIO_InitStruct.Pin = STLINK_RX_Pin|STLINK_TX_Pin;
  GPIO_InitStruct.Mode = GPIO_MODE_AF_PP;
  GPIO_InitStruct.Pull = GPIO_NOPULL;
  GPIO_InitStruct.Speed = GPIO_SPEED_FREQ_VERY_HIGH;
  GPIO_InitStruct.Alternate = GPIO_AF7_USART1;
  HAL_GPIO_Init(GPIOA, &GPIO_InitStruct);

  /*Configure GPIO pins : G7_Pin B2_Pin */
  GPIO_InitStruct.Pin = G7_Pin|B2_Pin;
  GPIO_InitStruct.Mode = GPIO_MODE_AF_PP;
  GPIO_InitStruct.Pull = GPIO_NOPULL;
  GPIO_InitStruct.Speed = GPIO_SPEED_FREQ_LOW;
  GPIO_InitStruct.Alternate = GPIO_AF14_LTDC;
  HAL_GPIO_Init(GPIOD, &GPIO_InitStruct);

  /*Configure GPIO pins : G3_Pin B4_Pin */
  GPIO_InitStruct.Pin = G3_Pin|B4_Pin;
  GPIO_InitStruct.Mode = GPIO_MODE_AF_PP;
  GPIO_InitStruct.Pull = GPIO_NOPULL;
  GPIO_InitStruct.Speed = GPIO_SPEED_FREQ_LOW;
  GPIO_InitStruct.Alternate = GPIO_AF9_LTDC;
  HAL_GPIO_Init(GPIOG, &GPIO_InitStruct);

  /*Configure GPIO pins : LD3_Pin LD4_Pin */
  GPIO_InitStruct.Pin = LD3_Pin|LD4_Pin;
  GPIO_InitStruct.Mode = GPIO_MODE_OUTPUT_PP;
  GPIO_InitStruct.Pull = GPIO_NOPULL;
  GPIO_InitStruct.Speed = GPIO_SPEED_FREQ_LOW;
  HAL_GPIO_Init(GPIOG, &GPIO_InitStruct);

  /*Configure GPIO pins : SDCKE1_Pin SDNE1_Pin */
  GPIO_InitStruct.Pin = SDCKE1_Pin|SDNE1_Pin;
  GPIO_InitStruct.Mode = GPIO_MODE_AF_PP;
  GPIO_InitStruct.Pull = GPIO_NOPULL;
  GPIO_InitStruct.Speed = GPIO_SPEED_FREQ_VERY_HIGH;
  GPIO_InitStruct.Alternate = GPIO_AF12_FMC;
  HAL_GPIO_Init(GPIOB, &GPIO_InitStruct);

  /* EXTI interrupt init*/
  HAL_NVIC_SetPriority(EXTI0_IRQn, 6, 0);
  HAL_NVIC_EnableIRQ(EXTI0_IRQn);

}

/* USER CODE BEGIN 4 */

void switch_priority(void)
{
	UBaseType_t p1,p2;
	xTaskHandle t1,t2,curr;

	BaseType_t switch_priority = 0;

	portENTER_CRITICAL();
	if(status_button){
		status_button = 0;
		switch_priority = 1;
	}
	portEXIT_CRITICAL();

	if(switch_priority){
		t1 = xTaskGetHandle("Task-1");
		t2 = xTaskGetHandle("Task-2");

		p1 = uxTaskPriorityGet(t1);
		p2 = uxTaskPriorityGet(t2);

		curr = xTaskGetCurrentTaskHandle();

		if(curr == t1){
			vTaskPrioritySet(t1,p2);
			vTaskPrioritySet(t2,p1);
		}else{
			vTaskPrioritySet(t2,p1);
			vTaskPrioritySet(t1,p2);
		}
	}

}

static void task1_handler(void* parameters)
{

	while(1)
	{
		HAL_GPIO_TogglePin(GPIOG, LED_RED_PIN);
		HAL_Delay(100);
		switch_priority();
	}

}

static void task2_handler(void* parameters)
{

	while(1)
	{
		HAL_GPIO_TogglePin(GPIOG, LED_GREEN_PIN);
		HAL_Delay(1000);
		switch_priority();
	}

}

void button_interrupt_handler(void)
{
	traceISR_ENTER();
	status_button = 1;
	traceISR_EXIT();
}

/* USER CODE END 4 */

void HAL_TIM_PeriodElapsedCallback(TIM_HandleTypeDef *htim)
{
  if (htim->Instance == TIM6) {
    HAL_IncTick();
  }
}

void Error_Handler(void)
{
  __disable_irq();
  while (1)
  {
  }
}

/************************ (C) COPYRIGHT STMicroelectronics *****END OF FILE****/
